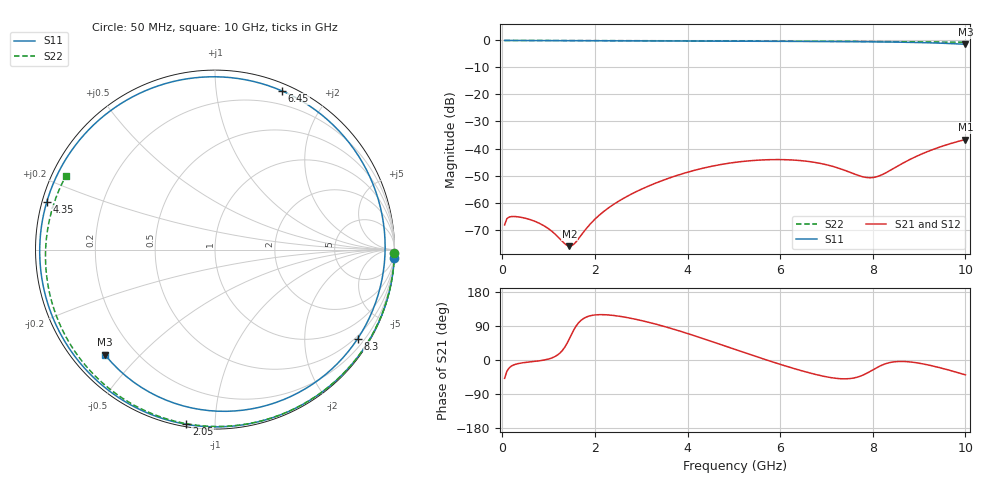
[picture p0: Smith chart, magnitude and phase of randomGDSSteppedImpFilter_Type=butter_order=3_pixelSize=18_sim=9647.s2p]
! freq	dB(S11)	phase(S11)	dB(S12)	phase(S12)
!  dB(S21)	phase(S21)	dB(S22)	phase(S22)
!S-par simulation data
#  GHz  S  DB  R 50
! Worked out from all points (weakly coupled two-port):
!   200 points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, 50 MHz to 10 GHz, reference 50 ohm
!   highest |S21| = -36.67 dB at 10 GHz (marker M1); lowest = -76.2 dB at 1.45 GHz (marker M2)
!   lowest |S11| = -1.4 dB at 10 GHz (marker M3), VSWR 12.14, Z = 4.77 - j19.9 ohm
!   |S11| at or under -10 dB: nowhere
!   |S22| runs from -0.7 to 0.0 dB; largest |S21 - S12| = 0
!   S11 on the Smith chart (normalised r, x): 50 MHz: 0, -44; 2.05 GHz: 0.01, -0.85; 4.35 GHz: 0.01, +0.14; 6.45 GHz: 0.07, +1.50; 8.3 GHz: 0.42, -3.45; 10 GHz: 0.10, -0.40
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0.05  -0.00 -2.6  -68.26 -48.4  -68.26 -48.4  -0.00 -1.1
0.15  -0.00 -7.7  -65.36 -20.7  -65.36 -20.7  -0.00 -3.3
0.6  -0.03 -30.7  -66.31 -5.0  -66.31 -5.0  -0.01 -13.1
1.45  -0.09 -72.0  -76.15 56.5  -76.15 56.5  -0.04 -31.4
1.75  -0.10 -85.9  -71.01 109.1  -71.01 109.1  -0.05 -37.8
2.05  -0.12 -99.4  -65.36 119.4  -65.36 119.4  -0.06 -44.1
2.65  -0.14 -125.3  -58.13 113.0  -58.13 113.0  -0.07 -56.5
3.4  -0.18 -156.4  -52.22 91.8  -52.22 91.8  -0.10 -71.7
4.35  -0.23 164.3  -47.22 55.9  -47.22 55.9  -0.13 -90.3
5.05  -0.27 134.1  -45.07 26.7  -45.07 26.7  -0.16 -103.8
5.8  -0.32 99.4  -44.12 -3.7  -44.12 -3.7  -0.20 -118.0
6.45  -0.36 67.1  -44.48 -27.9  -44.48 -27.9  -0.25 -130.3
6.7  -0.37 54.2  -45.00 -36.1  -45.00 -36.1  -0.27 -135.1
7.15  -0.41 30.4  -46.68 -47.5  -46.68 -47.5  -0.31 -143.8
7.55  -0.45 8.9  -49.08 -48.4  -49.08 -48.4  -0.35 -151.7
7.95  -0.50 -12.8  -50.81 -29.6  -50.81 -29.6  -0.39 -159.7
8.3  -0.56 -31.9  -48.83 -9.0  -48.83 -9.0  -0.43 -167.0
8.35  -0.57 -34.7  -48.35 -7.3  -48.35 -7.3  -0.43 -168.0
8.8  -0.70 -59.7  -44.08 -5.0  -44.08 -5.0  -0.49 -177.7
9.25  -0.88 -85.9  -40.68 -14.5  -40.68 -14.5  -0.55 172.1
9.65  -1.13 -111.3  -38.33 -26.8  -38.33 -26.8  -0.61 162.5
10  -1.43 -136.3  -36.67 -39.3  -36.67 -39.3  -0.66 153.7
